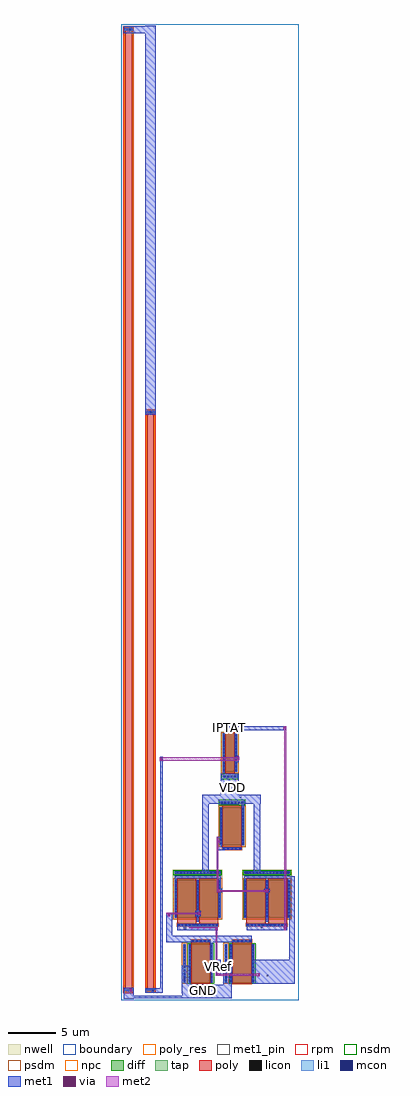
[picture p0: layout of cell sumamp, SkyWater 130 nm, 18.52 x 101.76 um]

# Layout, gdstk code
import gdstk
lib = gdstk.Library(unit=1e-6, precision=1e-09)
def R(c, l, rs):  # rectangles x0, y0, x1, y1
    for r in rs: c.add(gdstk.rectangle(r[:2], r[2:], *l))
def A(c, l, x, y, w, h, nx, ny, dx, dy):  # array of equal rectangles
    R(c, l, [(x+i*dx, y+j*dy, x+i*dx+w, y+j*dy+h) for i in range(nx) for j in range(ny)])
nwell = (64, 20)
diff = (65, 20)
tap = (65, 44)
poly_res = (66, 13)
poly = (66, 20)
licon = (66, 44)
li1 = (67, 20)
mcon = (67, 44)
met1_pin = (68, 16)
met1 = (68, 20)
via = (68, 44)
met2 = (69, 20)
rpm = (86, 20)
nsdm = (93, 44)
psdm = (94, 20)
npc = (95, 20)
boundary = (235, 4)

pfet_01v8_cdns_778453598 = lib.new_cell('pfet_01v8_CDNS_778453598860')
R(pfet_01v8_cdns_778453598, nwell, [(-0.445,-0.81,1.445,4.18)])
R(pfet_01v8_cdns_778453598, diff, [(-0.265,0,0,4), (0,0,1,4), (1,0,1.265,4)])
R(pfet_01v8_cdns_778453598, tap, [(-0.265,-0.63,1.265,-0.34)])
R(pfet_01v8_cdns_778453598, poly, [(0,-0.15,1,0), (0,0,1,4), (0,4,1,4.19), (0,4.19,1,4.46)])
A(pfet_01v8_cdns_778453598, licon, -0.095, -0.57, 0.17, 0.17, 4, 1, 0.34, 0)
A(pfet_01v8_cdns_778453598, licon, -0.225, 0.215, 0.17, 0.17, 1, 11, 0, 0.34)
A(pfet_01v8_cdns_778453598, licon, 1.055, 0.215, 0.17, 0.17, 1, 11, 0, 0.34)
R(pfet_01v8_cdns_778453598, licon, [(0.08,4.24,0.25,4.41), (0.75,4.24,0.92,4.41)])
R(pfet_01v8_cdns_778453598, li1, [(-0.255,-0.62,1.255,-0.35), (-0.225,0,-0.055,4), (1.055,0,1.225,4), (0,4.21,1,4.44)])
A(pfet_01v8_cdns_778453598, mcon, -0.125, -0.57, 0.17, 0.17, 4, 1, 0.36, 0)
A(pfet_01v8_cdns_778453598, mcon, -0.225, 0.115, 0.17, 0.17, 1, 11, 0, 0.36)
A(pfet_01v8_cdns_778453598, mcon, 1.055, 0.115, 0.17, 0.17, 1, 11, 0, 0.36)
R(pfet_01v8_cdns_778453598, mcon, [(0.08,4.24,0.25,4.41), (0.75,4.24,0.92,4.41)])
R(pfet_01v8_cdns_778453598, met1, [(-0.255,-0.62,1.255,-0.35), (-0.255,0,-0.025,4), (1.025,0,1.255,4), (0,4.19,1,4.46)])
R(pfet_01v8_cdns_778453598, nsdm, [(-0.395,-0.76,1.395,-0.21)])
R(pfet_01v8_cdns_778453598, psdm, [(-0.405,-0.13,1.405,4.13)])
R(pfet_01v8_cdns_778453598, npc, [(-0.05,4.14,1.05,4.51)])

res_high_po_0p69_cdns_77 = lib.new_cell('res_high_po_0p69_CDNS_778453598861')
R(res_high_po_0p69_cdns_77, poly_res, [(0,-0.05,0.69,59.95)])
R(res_high_po_0p69_cdns_77, poly, [(0,-0.27,0.69,0), (0,0,0.69,59.9), (0,59.9,0.69,60.17)])
R(res_high_po_0p69_cdns_77, licon, [(0.08,-0.22,0.25,-0.05), (0.44,-0.22,0.61,-0.05), (0.08,59.95,0.25,60.12), (0.44,59.95,0.61,60.12)])
R(res_high_po_0p69_cdns_77, li1, [(-0.1,-0.22,0.79,-0.05), (-0.1,59.95,0.79,60.12)])
R(res_high_po_0p69_cdns_77, rpm, [(-0.2,-0.47,0.89,60.37)])
R(res_high_po_0p69_cdns_77, psdm, [(-0.11,-0.38,0.8,60.28)])
R(res_high_po_0p69_cdns_77, npc, [(-0.095,-0.365,0.785,60.265)])

c_res_high_po_0p69_cdns_77 = lib.new_cell('res_high_po_0p69_CDNS_778453598862')
R(c_res_high_po_0p69_cdns_77, poly_res, [(0,-0.05,0.69,99.95)])
R(c_res_high_po_0p69_cdns_77, poly, [(0,-0.27,0.69,0), (0,0,0.69,99.9), (0,99.9,0.69,100.17)])
R(c_res_high_po_0p69_cdns_77, licon, [(0.08,-0.22,0.25,-0.05), (0.44,-0.22,0.61,-0.05), (0.08,99.95,0.25,100.12), (0.44,99.95,0.61,100.12)])
R(c_res_high_po_0p69_cdns_77, li1, [(-0.1,-0.22,0.79,-0.05), (-0.1,99.95,0.79,100.12)])
R(c_res_high_po_0p69_cdns_77, rpm, [(-0.2,-0.47,0.89,100.37)])
R(c_res_high_po_0p69_cdns_77, psdm, [(-0.11,-0.38,0.8,100.28)])
R(c_res_high_po_0p69_cdns_77, npc, [(-0.095,-0.365,0.785,100.265)])

c_pfet_01v8_cdns_778453598 = lib.new_cell('pfet_01v8_CDNS_778453598863')
R(c_pfet_01v8_cdns_778453598, nwell, [(-0.445,-0.18,4.725,5.05)])
R(c_pfet_01v8_cdns_778453598, diff, [(-0.265,0,0,4), (0,0,2,4), (2,0,2.28,4), (2.28,0,4.28,4), (4.28,0,4.545,4)])
R(c_pfet_01v8_cdns_778453598, tap, [(-0.265,4.58,4.545,4.87)])
R(c_pfet_01v8_cdns_778453598, poly, [(0,-0.86,4.28,-0.59), (0,-0.59,2,0), (2.28,-0.59,4.28,0), (0,0,2,4), (2.28,0,4.28,4), (0,4,2,4.15), (2.28,4,4.28,4.15)])
A(c_pfet_01v8_cdns_778453598, licon, 0.08, -0.81, 0.17, 0.17, 10, 1, 0.36, 0)
A(c_pfet_01v8_cdns_778453598, licon, -0.225, 0.215, 0.17, 0.17, 3, 11, 2.28, 0.34)
A(c_pfet_01v8_cdns_778453598, licon, 0.015, 4.64, 0.17, 0.17, 13, 1, 0.34, 0)
R(c_pfet_01v8_cdns_778453598, licon, [(3.675,-0.81,3.845,-0.64), (4.03,-0.81,4.2,-0.64)])
A(c_pfet_01v8_cdns_778453598, li1, -0.225, 0, 0.17, 4, 3, 1, 2.28, 0)
R(c_pfet_01v8_cdns_778453598, li1, [(0,-0.84,4.28,-0.61), (-0.255,4.59,4.535,4.86)])
A(c_pfet_01v8_cdns_778453598, mcon, 0.08, -0.81, 0.17, 0.17, 11, 1, 0.395, 0)
A(c_pfet_01v8_cdns_778453598, mcon, -0.225, 0.115, 0.17, 0.17, 3, 11, 2.28, 0.36)
A(c_pfet_01v8_cdns_778453598, mcon, -0.105, 4.64, 0.17, 0.17, 13, 1, 0.36, 0)
A(c_pfet_01v8_cdns_778453598, met1, -0.255, 0, 0.23, 4, 3, 1, 2.28, 0)
R(c_pfet_01v8_cdns_778453598, met1, [(0,-0.86,4.28,-0.59), (2.025,-0.4,2.255,-0.17), (2.025,-0.17,2.255,0), (-0.255,4,-0.025,4.17), (4.305,4,4.535,4.17), (-0.255,4.17,4.535,4.4), (-0.255,4.59,4.535,4.86)])
R(c_pfet_01v8_cdns_778453598, nsdm, [(-0.395,4.45,4.675,5)])
R(c_pfet_01v8_cdns_778453598, psdm, [(-0.405,-0.13,4.685,4.13)])
R(c_pfet_01v8_cdns_778453598, npc, [(-0.05,-0.91,4.33,-0.54)])

nfet_01v8_cdns_778453598 = lib.new_cell('nfet_01v8_CDNS_778453598864')
R(nfet_01v8_cdns_778453598, diff, [(-0.265,0,0,4), (0,0,2,4), (2,0,2.265,4)])
R(nfet_01v8_cdns_778453598, tap, [(-0.825,0,-0.535,4)])
R(nfet_01v8_cdns_778453598, poly, [(0,-0.15,2,0), (0,0,2,4), (0,4,2,4.19), (0,4.19,2,4.46)])
A(nfet_01v8_cdns_778453598, licon, -0.765, 0.215, 0.17, 0.17, 1, 11, 0, 0.34)
A(nfet_01v8_cdns_778453598, licon, -0.225, 0.215, 0.17, 0.17, 1, 11, 0, 0.34)
A(nfet_01v8_cdns_778453598, licon, 2.055, 0.215, 0.17, 0.17, 1, 11, 0, 0.34)
A(nfet_01v8_cdns_778453598, licon, 0.08, 4.24, 0.17, 0.17, 3, 1, 0.42, 0)
R(nfet_01v8_cdns_778453598, licon, [(1.335,4.24,1.505,4.41), (1.75,4.24,1.92,4.41)])
R(nfet_01v8_cdns_778453598, li1, [(-0.815,0,-0.545,4), (-0.225,0,-0.055,4), (2.055,0,2.225,4), (0,4.21,2,4.44)])
A(nfet_01v8_cdns_778453598, mcon, -0.765, 0.115, 0.17, 0.17, 1, 11, 0, 0.36)
A(nfet_01v8_cdns_778453598, mcon, -0.225, 0.115, 0.17, 0.17, 1, 11, 0, 0.36)
A(nfet_01v8_cdns_778453598, mcon, 2.055, 0.115, 0.17, 0.17, 1, 11, 0, 0.36)
A(nfet_01v8_cdns_778453598, mcon, 0.08, 4.24, 0.17, 0.17, 3, 1, 0.42, 0)
R(nfet_01v8_cdns_778453598, mcon, [(1.335,4.24,1.505,4.41), (1.75,4.24,1.92,4.41)])
R(nfet_01v8_cdns_778453598, met1, [(-0.815,0,-0.545,4), (-0.255,0,-0.025,4), (2.025,0,2.255,4), (0,4.19,2,4.46)])
R(nfet_01v8_cdns_778453598, nsdm, [(-0.405,-0.13,2.405,4.13)])
R(nfet_01v8_cdns_778453598, psdm, [(-0.965,-0.14,-0.395,4.14)])
R(nfet_01v8_cdns_778453598, npc, [(-0.05,4.14,2.05,4.51)])

c_pfet_01v8_cdns_778453598_ = lib.new_cell('pfet_01v8_CDNS_778453598865')
R(c_pfet_01v8_cdns_778453598_, nwell, [(-0.445,-0.18,2.445,4.81)])
R(c_pfet_01v8_cdns_778453598_, diff, [(-0.265,0,0,4), (0,0,2,4), (2,0,2.265,4)])
R(c_pfet_01v8_cdns_778453598_, tap, [(-0.265,4.34,2.265,4.63)])
R(c_pfet_01v8_cdns_778453598_, poly, [(0,-0.46,2,-0.19), (0,-0.19,2,0), (0,0,2,4), (0,4,2,4.15)])
A(c_pfet_01v8_cdns_778453598_, licon, 0.08, -0.41, 0.17, 0.17, 3, 1, 0.42, 0)
A(c_pfet_01v8_cdns_778453598_, licon, -0.225, 0.215, 0.17, 0.17, 1, 11, 0, 0.34)
A(c_pfet_01v8_cdns_778453598_, licon, 2.055, 0.215, 0.17, 0.17, 1, 11, 0, 0.34)
A(c_pfet_01v8_cdns_778453598_, licon, -0.105, 4.4, 0.17, 0.17, 7, 1, 0.34, 0)
R(c_pfet_01v8_cdns_778453598_, licon, [(1.335,-0.41,1.505,-0.24), (1.75,-0.41,1.92,-0.24)])
R(c_pfet_01v8_cdns_778453598_, li1, [(0,-0.44,2,-0.21), (-0.225,0,-0.055,4), (2.055,0,2.225,4), (-0.255,4.35,2.255,4.62)])
A(c_pfet_01v8_cdns_778453598_, mcon, 0.08, -0.41, 0.17, 0.17, 3, 1, 0.42, 0)
A(c_pfet_01v8_cdns_778453598_, mcon, -0.225, 0.115, 0.17, 0.17, 1, 11, 0, 0.36)
A(c_pfet_01v8_cdns_778453598_, mcon, 2.055, 0.115, 0.17, 0.17, 1, 11, 0, 0.36)
A(c_pfet_01v8_cdns_778453598_, mcon, -0.165, 4.4, 0.17, 0.17, 7, 1, 0.36, 0)
R(c_pfet_01v8_cdns_778453598_, mcon, [(1.335,-0.41,1.505,-0.24), (1.75,-0.41,1.92,-0.24)])
R(c_pfet_01v8_cdns_778453598_, met1, [(0,-0.46,2,-0.19), (-0.255,0,-0.025,4), (2.025,0,2.255,4), (-0.255,4.35,2.255,4.62)])
R(c_pfet_01v8_cdns_778453598_, nsdm, [(-0.395,4.21,2.395,4.76)])
R(c_pfet_01v8_cdns_778453598_, psdm, [(-0.405,-0.13,2.405,4.13)])
R(c_pfet_01v8_cdns_778453598_, npc, [(-0.05,-0.51,2.05,-0.14)])

m1m2_c_cdns_778453598860 = lib.new_cell('M1M2_C_CDNS_778453598860')
R(m1m2_c_cdns_778453598860, met1, [(-0.13,-0.16,0.13,0.16)])
R(m1m2_c_cdns_778453598860, via, [(-0.075,-0.075,0.075,0.075)])
R(m1m2_c_cdns_778453598860, met2, [(-0.13,-0.16,0.13,0.16)])

ota = lib.new_cell('ota')
R(ota, met1_pin, [(3.005,2.04,3.145,2.18), (10.99,3.405,11.13,3.545), (2.335,8.31,2.565,8.555), (10.365,8.42,10.505,8.56), (8.185,22.01,8.3,22.105)])
R(ota, met1, [(2.12,1.595,7.32,2.515), (2.12,1.935,3.02,4.46), (6.455,1.935,7.32,4.6), (9.495,2.595,13.875,5.11), (13.3,2.595,13.875,13.815), (5.075,4.905,5.36,7.46), (0.485,6.92,1.13,10.025), (0.485,6.92,9.41,7.59), (1.645,8.205,5.885,8.845), (8.88,8.205,13.12,8.845), (3.5,9.64,4.075,10.235), (5.755,12.13,6.33,12.49), (10.72,12.13,11.295,12.49), (4.245,14.065,4.91,22.285), (9.645,14.07,10.31,22.29), (5.76,16.52,6.605,16.855), (5.76,16.52,6.305,17.945), (8.375,20.795,8.65,21.755), (4.245,21.375,10.335,22.29)])
R(ota, met2, [(0.485,9.875,4.075,10.02), (5.76,12.145,5.915,17.945), (5.785,12.21,11.15,12.355)])
ota.add(gdstk.Reference(c_pfet_01v8_cdns_778453598, (8.86,9.465)))
ota.add(gdstk.Reference(c_pfet_01v8_cdns_778453598, (1.635,9.465)))
ota.add(gdstk.Reference(nfet_01v8_cdns_778453598, (7.4,2.725)))
ota.add(gdstk.Reference(nfet_01v8_cdns_778453598, (3.09,2.725)))
ota.add(gdstk.Reference(c_pfet_01v8_cdns_778453598_, (6.36,17.025)))
ota.add(gdstk.Reference(m1m2_c_cdns_778453598860, (0.795,9.82)))
ota.add(gdstk.Reference(m1m2_c_cdns_778453598860, (5.95,12.31)))
ota.add(gdstk.Reference(m1m2_c_cdns_778453598860, (10.96,12.29)))
ota.add(gdstk.Reference(m1m2_c_cdns_778453598860, (5.96,17.455)))
ota.add(gdstk.Reference(m1m2_c_cdns_778453598860, (3.835,9.975)))

l1m1_c_cdns_778453598861 = lib.new_cell('L1M1_C_CDNS_778453598861')
R(l1m1_c_cdns_778453598861, li1, [(-0.085,-0.165,0.085,0.165)])
R(l1m1_c_cdns_778453598861, mcon, [(-0.085,-0.085,0.085,0.085)])
R(l1m1_c_cdns_778453598861, met1, [(-0.13,-0.16,0.13,0.16)])

l1m1_c_cdns_778453598862 = lib.new_cell('L1M1_C_CDNS_778453598862')
R(l1m1_c_cdns_778453598862, li1, [(-0.085,-0.165,0.085,0.165)])
R(l1m1_c_cdns_778453598862, mcon, [(-0.085,-0.085,0.085,0.085)])
R(l1m1_c_cdns_778453598862, met1, [(-0.115,-0.145,0.115,0.145)])

sumamp = lib.new_cell('sumamp')
R(sumamp, met1_pin, [(18.515,3.075,18.655,3.215), (20.11,5.525,20.25,5.665), (21.56,24.22,21.7,24.36), (21.28,30.51,21.42,30.65)])
R(sumamp, met1, [(10.28,2.285,11.345,3.395), (10.295,2.32,21.525,2.575), (16.4,2.33,21.545,3.66), (12.54,2.915,14.35,3.37), (14.085,2.92,14.375,27.495), (18.37,2.93,18.83,3.315), (19.885,4.645,20.425,6.33), (20.4,22.545,22.3,25.705), (20.63,25.31,20.83,26.04), (21.995,26.945,22.265,27.63), (20.79,30.24,27.23,30.705), (12.535,63.175,13.625,103.7), (10.275,102.925,13.625,103.69)])
R(sumamp, met2, [(19.885,4.65,20.055,9.75), (19.885,4.655,24.465,4.86), (27.025,9.435,27.23,30.68), (17.125,9.61,20.095,9.755), (14.045,27.095,22.255,27.47)])
R(sumamp, boundary, [(10.02,2.14,28.54,103.9)])
sumamp.add(gdstk.Reference(pfet_01v8_cdns_778453598, (20.855,25.935)))
sumamp.add(gdstk.Reference(res_high_po_0p69_cdns_77, (12.745,3.385)))
sumamp.add(gdstk.Reference(c_res_high_po_0p69_cdns_77, (10.46,3.315)))
sumamp.add(gdstk.Reference(ota, (14.22,1.225)))
sumamp.add(gdstk.Reference(m1m2_c_cdns_778453598860, (24.36,4.775)))
sumamp.add(gdstk.Reference(m1m2_c_cdns_778453598860, (20.055,4.85)))
sumamp.add(gdstk.Reference(m1m2_c_cdns_778453598860, (19.965,9.595)))
sumamp.add(gdstk.Reference(m1m2_c_cdns_778453598860, (27.09,9.625)))
sumamp.add(gdstk.Reference(m1m2_c_cdns_778453598860, (27.045,30.48)))
sumamp.add(gdstk.Reference(m1m2_c_cdns_778453598860, (22.175,27.34)))
sumamp.add(gdstk.Reference(m1m2_c_cdns_778453598860, (14.235,27.25)))
sumamp.add(gdstk.Reference(m1m2_c_cdns_778453598860, (11.045,3.14)))
sumamp.add(gdstk.Reference(l1m1_c_cdns_778453598861, (11.045,3.14)))
sumamp.add(gdstk.Reference(l1m1_c_cdns_778453598862, (13.095,63.425)))
sumamp.add(gdstk.Reference(l1m1_c_cdns_778453598862, (10.925,103.33)))
sumamp.add(gdstk.Reference(l1m1_c_cdns_778453598862, (13.31,3.115)))
sumamp.add(gdstk.Label('IPTAT', (21.35,30.58), layer=83, texttype=44))
sumamp.add(gdstk.Label('VRef', (20.18,5.595), layer=83, texttype=44))
sumamp.add(gdstk.Label('GND', (18.585,3.145), layer=83, texttype=44))
sumamp.add(gdstk.Label('VDD', (21.63,24.29), layer=83, texttype=44))

lib.write_gds('sumamp.gds')
